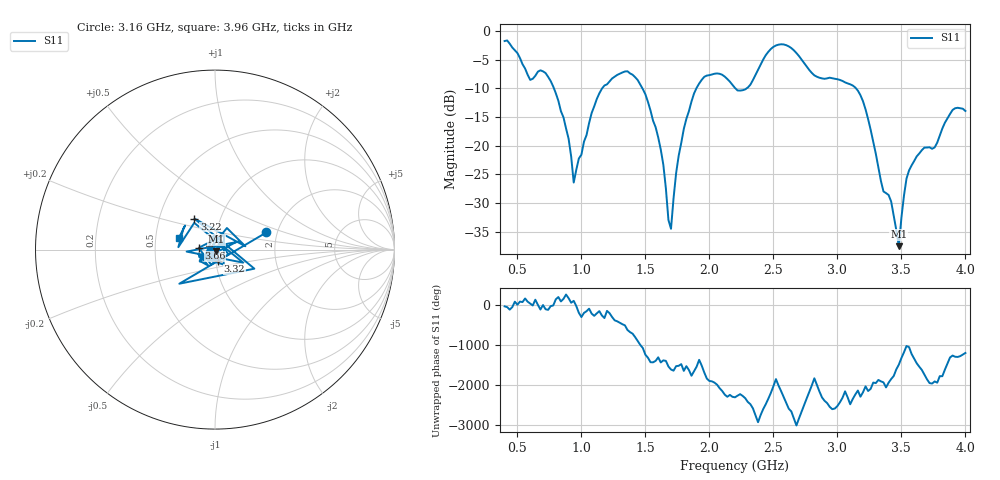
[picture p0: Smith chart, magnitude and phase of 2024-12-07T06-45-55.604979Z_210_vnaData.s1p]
!Created with skrf (http://scikit-rf.org).
# Hz S RI R 50.0
!freq ReS11 ImS11
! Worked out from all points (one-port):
!   181 points, 400 MHz to 4 GHz, reference 50 ohm
!   lowest |S11| = -37.5 dB at 3.48 GHz (marker M1), VSWR 1.03, Z = 50.8 - j1.06 ohm
!   |S11| at or under -10 dB: 785 MHz to 1.163 GHz (377.9 MHz wide, 38.8 % of centre); 1.476 GHz to 1.899 GHz (422.9 MHz wide, 25.1 % of centre); 3.145 GHz to end of sweep (the widest 3 of 4)
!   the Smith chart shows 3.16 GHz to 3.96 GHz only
!   S11 on the Smith chart (normalised r, x): 3.16 GHz: 1.75, +0.37; 3.22 GHz: 0.75, +0.27; 3.32 GHz: 1.02, -0.13; 3.66 GHz: 0.83, +0.02; 3.96 GHz: 0.66, +0.09
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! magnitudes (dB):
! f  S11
! 400 MHz  -1.8
! 600 MHz  -8.5
! 720 MHz  -7.4
! 860 MHz  -15.1
! 940 MHz  -26.4
! 1.12 GHz  -11.9
! 1.3 GHz  -7.5
! 1.52 GHz  -12.4
! 1.62 GHz  -20.7
! 1.7 GHz  -34.5
! 1.76 GHz  -21.8
! 1.94 GHz  -8.5
! 2.2 GHz  -10.0
! 2.3 GHz  -9.9
! 2.5 GHz  -2.8
! 2.66 GHz  -3.4
! 2.82 GHz  -7.8
! 3.1 GHz  -9.3
! 3.16 GHz  -10.4
! 3.22 GHz  -13.7
! 3.32 GHz  -23.8
! 3.42 GHz  -29.7
! 3.48 GHz  -37.5
! 3.52 GHz  -28.7
! 3.56 GHz  -24.3
! 3.66 GHz  -20.8
! 3.96 GHz  -13.5
! 4 GHz  -14.0
